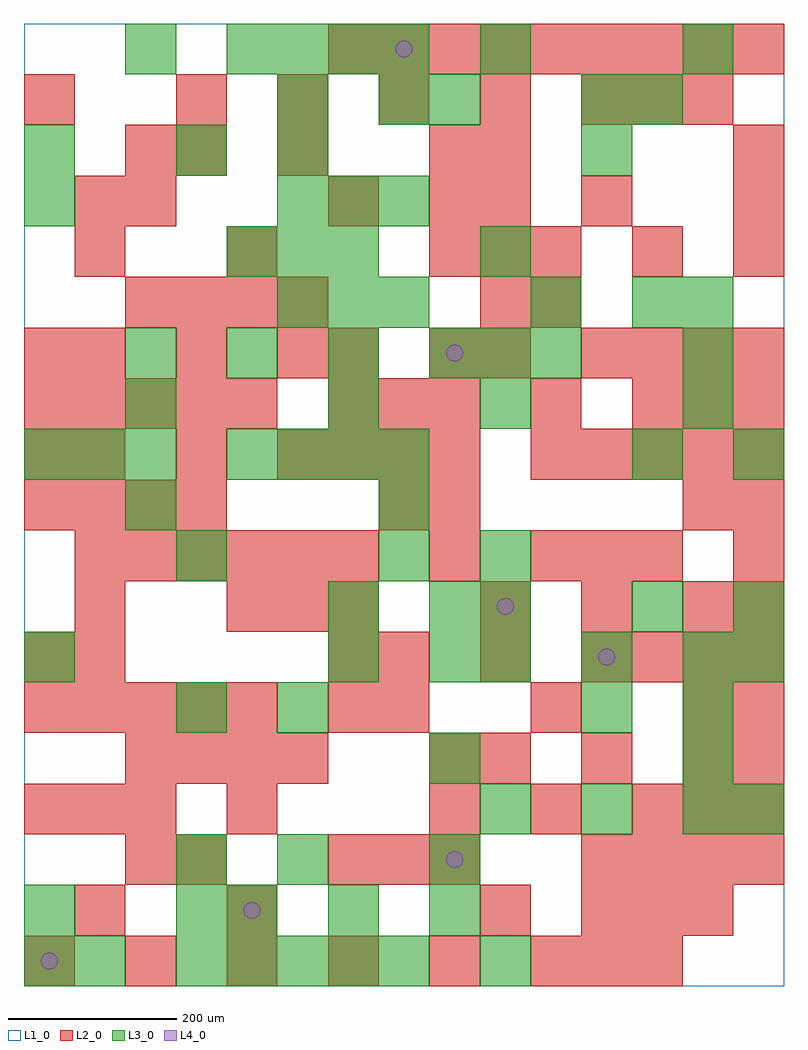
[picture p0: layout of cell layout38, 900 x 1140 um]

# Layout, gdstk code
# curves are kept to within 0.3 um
import gdstk
lib = gdstk.Library(unit=1e-6, precision=1e-09)
def R(c, l, rs):  # rectangles x0, y0, x1, y1
    for r in rs: c.add(gdstk.rectangle(r[:2], r[2:], *l))
def A(c, l, x, y, w, h, nx, ny, dx, dy):  # array of equal rectangles
    R(c, l, [(x+i*dx, y+j*dy, x+i*dx+w, y+j*dy+h) for i in range(nx) for j in range(ny)])
def P(c, l, *ps):  # polygons
    for p in ps: c.add(gdstk.Polygon(p, *l))
L1_0 = (1, 0)
L2_0 = (2, 0)
L3_0 = (3, 0)
L4_0 = (4, 0)

layout38 = lib.new_cell('layout38')
R(layout38, L1_0, [(0,0,900,1140)])
A(layout38, L2_0, 0, 0, 60, 60, 6, 1, 120, 0)
A(layout38, L2_0, 660, 60, 60, 60, 3, 1, 60, 0)
A(layout38, L2_0, 360, 120, 60, 60, 3, 2, 60, 480)
A(layout38, L2_0, 660, 120, 60, 60, 4, 2, 60, 600)
A(layout38, L2_0, 0, 180, 60, 60, 3, 1, 60, 0)
A(layout38, L2_0, 480, 180, 60, 60, 3, 1, 120, 0)
A(layout38, L2_0, 840, 180, 60, 60, 1, 3, 0, 60)
A(layout38, L2_0, 120, 240, 60, 60, 4, 2, 60, 540)
A(layout38, L2_0, 540, 240, 60, 60, 3, 2, 120, 180)
A(layout38, L2_0, 0, 300, 60, 60, 5, 2, 60, 360)
A(layout38, L2_0, 420, 300, 60, 60, 3, 1, 180, 0)
A(layout38, L2_0, 420, 360, 60, 60, 3, 1, 120, 0)
A(layout38, L2_0, 720, 360, 60, 60, 3, 2, 60, 300)
A(layout38, L2_0, 240, 420, 60, 60, 3, 1, 60, 0)
A(layout38, L2_0, 840, 420, 60, 60, 1, 3, 0, 60)
A(layout38, L2_0, 60, 480, 60, 60, 6, 1, 60, 0)
A(layout38, L2_0, 600, 480, 60, 60, 3, 1, 60, 0)
A(layout38, L2_0, 0, 540, 60, 60, 4, 1, 60, 0)
A(layout38, L2_0, 480, 540, 60, 60, 1, 3, 0, 180)
A(layout38, L2_0, 60, 600, 60, 60, 3, 2, 120, 120)
A(layout38, L2_0, 600, 600, 60, 60, 5, 1, 60, 0)
A(layout38, L2_0, 360, 660, 60, 60, 3, 1, 60, 0)
A(layout38, L2_0, 480, 840, 60, 60, 3, 1, 60, 0)
A(layout38, L2_0, 840, 840, 60, 60, 1, 3, 0, 60)
A(layout38, L2_0, 180, 1020, 60, 60, 5, 1, 120, 0)
A(layout38, L2_0, 360, 1080, 60, 60, 9, 1, 60, 0)
R(layout38, L2_0, [(660,0,720,60), (720,0,780,60), (60,60,120,120), (240,60,300,120), (540,60,600,120), (120,120,180,180), (180,120,240,180), (240,180,300,240), (780,180,840,240), (480,240,540,300), (360,300,420,360), (0,360,60,420), (60,360,120,420), (360,360,420,420), (60,420,120,480), (480,480,540,540), (420,540,480,600), (780,540,840,600), (0,600,60,660), (600,660,660,720), (0,720,60,780), (360,720,420,780), (540,720,600,780), (540,780,600,840), (600,780,660,840), (60,840,120,900), (240,840,300,900), (720,840,780,900), (60,900,120,960), (120,900,180,960), (360,900,420,960), (540,900,600,960), (660,900,720,960), (120,960,180,1020), (180,960,240,1020), (300,960,360,1020), (480,960,540,1020), (540,960,600,1020), (0,1020,60,1080), (720,1020,780,1080), (780,1020,840,1080)])
A(layout38, L3_0, 180, 0, 60, 60, 5, 1, 60, 0)
A(layout38, L3_0, 240, 60, 60, 60, 3, 1, 120, 0)
A(layout38, L3_0, 180, 120, 60, 60, 1, 3, 0, 180)
A(layout38, L3_0, 480, 120, 60, 60, 1, 3, 0, 120)
A(layout38, L3_0, 540, 180, 60, 60, 3, 2, 120, 180)
A(layout38, L3_0, 720, 420, 60, 60, 1, 3, 0, 180)
A(layout38, L3_0, 0, 600, 60, 60, 3, 1, 60, 0)
A(layout38, L3_0, 240, 600, 60, 60, 4, 2, 60, 480)
A(layout38, L3_0, 780, 660, 60, 60, 1, 3, 0, 60)
A(layout38, L3_0, 120, 720, 60, 60, 4, 1, 120, 0)
A(layout38, L3_0, 300, 780, 60, 60, 3, 2, 60, 120)
A(layout38, L3_0, 240, 840, 60, 60, 3, 1, 60, 0)
R(layout38, L3_0, [(0,0,60,60), (60,0,120,60), (540,0,600,60), (0,60,60,120), (180,60,240,120), (300,120,360,180), (840,180,900,240), (780,240,840,300), (300,300,360,360), (660,300,720,360), (780,300,840,360), (0,360,60,420), (360,360,420,420), (840,360,900,420), (360,420,420,480), (480,420,540,480), (540,420,600,480), (840,420,900,480), (420,480,480,540), (540,480,600,540), (120,540,180,600), (420,540,480,600), (840,600,900,660), (120,660,180,720), (360,660,420,720), (540,660,600,720), (540,720,600,780), (600,720,660,780), (600,780,660,840), (540,840,600,900), (0,900,60,960), (0,960,60,1020), (180,960,240,1020), (300,960,360,1020), (660,960,720,1020), (300,1020,360,1080), (420,1020,480,1080), (480,1020,540,1080), (660,1020,720,1080), (720,1020,780,1080), (120,1080,180,1140), (540,1080,600,1140), (780,1080,840,1140)])
P(layout38, L4_0, [(40,30),(39.239,33.827),(37.071,37.071),(33.827,39.239),(30,40),(26.173,39.239),(22.929,37.071),(20.761,33.827),(20,30),(20.761,26.173),(22.929,22.929),(26.173,20.761),(30,20),(33.827,20.761),(37.071,22.929),(39.239,26.173)],
  [(280,90),(279.239,93.827),(277.071,97.071),(273.827,99.239),(270,100),(266.173,99.239),(262.929,97.071),(260.761,93.827),(260,90),(260.761,86.173),(262.929,82.929),(266.173,80.761),(270,80),(273.827,80.761),(277.071,82.929),(279.239,86.173)],
  [(460,1110),(459.239,1113.827),(457.071,1117.071),(453.827,1119.239),(450,1120),(446.173,1119.239),(442.929,1117.071),(440.761,1113.827),(440,1110),(440.761,1106.173),(442.929,1102.929),(446.173,1100.761),(450,1100),(453.827,1100.761),(457.071,1102.929),(459.239,1106.173)],
  [(520,150),(519.239,153.827),(517.071,157.071),(513.827,159.239),(510,160),(506.173,159.239),(502.929,157.071),(500.761,153.827),(500,150),(500.761,146.173),(502.929,142.929),(506.173,140.761),(510,140),(513.827,140.761),(517.071,142.929),(519.239,146.173)],
  [(520,750),(519.239,753.827),(517.071,757.071),(513.827,759.239),(510,760),(506.173,759.239),(502.929,757.071),(500.761,753.827),(500,750),(500.761,746.173),(502.929,742.929),(506.173,740.761),(510,740),(513.827,740.761),(517.071,742.929),(519.239,746.173)],
  [(580,450),(579.239,453.827),(577.071,457.071),(573.827,459.239),(570,460),(566.173,459.239),(562.929,457.071),(560.761,453.827),(560,450),(560.761,446.173),(562.929,442.929),(566.173,440.761),(570,440),(573.827,440.761),(577.071,442.929),(579.239,446.173)],
  [(700,390),(699.239,393.827),(697.071,397.071),(693.827,399.239),(690,400),(686.173,399.239),(682.929,397.071),(680.761,393.827),(680,390),(680.761,386.173),(682.929,382.929),(686.173,380.761),(690,380),(693.827,380.761),(697.071,382.929),(699.239,386.173)])

lib.write_gds('layout38.gds')
